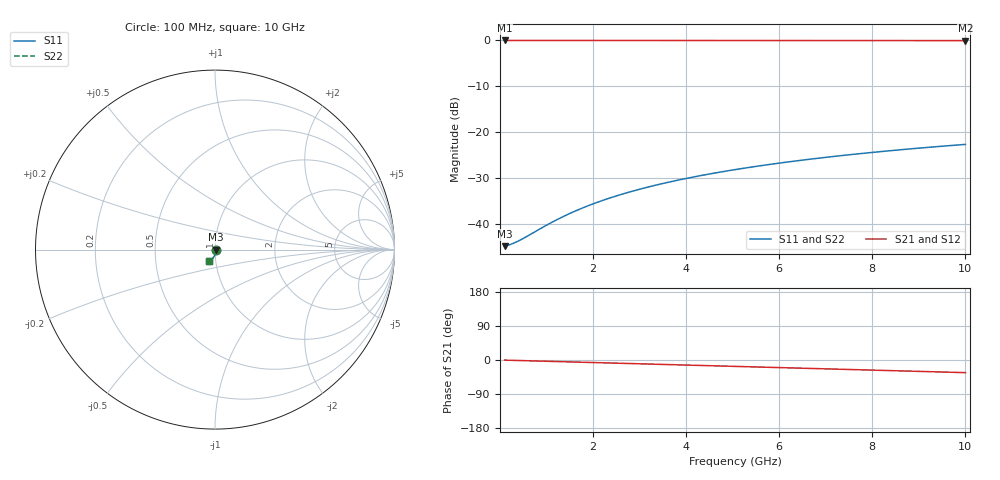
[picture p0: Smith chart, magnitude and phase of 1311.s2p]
# Hz S RI R 50.00
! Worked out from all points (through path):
!   100 points, 100 MHz to 10 GHz, reference 50 ohm
!   highest |S21| = -0.05 dB at 100 MHz (marker M1); lowest = -0.1 dB at 10 GHz (marker M2)
!   group delay of S21, straight-line fit = 9.27 ps
!   lowest |S11| = -44.8 dB at 100 MHz (marker M3), VSWR 1.01, Z = 50.6 - j0.0817 ohm
!   |S11| at or under -10 dB: start of sweep to end of sweep
!   |S22| runs from -44.8 to -22.7 dB; largest |S21 - S12| = 0
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1e8  0.00567 -0.000808  0.9943 -0.00579  0.9943 -0.00579  0.00567 -0.000808
2e8  0.00569 -0.00162  0.9942 -0.0116  0.9942 -0.0116  0.00569 -0.00162
3e8  0.0057 -0.00242  0.9941 -0.0174  0.9941 -0.0174  0.0057 -0.00242
4e8  0.00568 -0.00323  0.9939 -0.0232  0.9939 -0.0232  0.00568 -0.00323
6e8  0.00562 -0.00485  0.9936 -0.0347  0.9936 -0.0347  0.00562 -0.00485
1e9  0.00537 -0.00807  0.9924 -0.0579  0.9924 -0.0579  0.00537 -0.00807
1.2e9  0.00518 -0.00967  0.9916 -0.0694  0.9916 -0.0694  0.00518 -0.00967
1.5e9  0.00483 -0.0121  0.9902 -0.0868  0.9902 -0.0868  0.00483 -0.0121
1.8e9  0.00439 -0.0145  0.9884 -0.104  0.9884 -0.104  0.00439 -0.0145
2.1e9  0.00387 -0.0168  0.9864 -0.1213  0.9864 -0.1213  0.00387 -0.0168
2.5e9  0.00305 -0.02  0.9832 -0.1442  0.9832 -0.1442  0.00305 -0.02
2.9e9  0.00208 -0.023  0.9795 -0.1671  0.9795 -0.1671  0.00208 -0.023
3.4e9  0.000668 -0.0268  0.974 -0.1955  0.974 -0.1955  0.000668 -0.0268
3.8e9  -0.000615 -0.0298  0.9691 -0.2181  0.9691 -0.2181  -0.000615 -0.0298
4.2e9  -0.00203 -0.0327  0.9636 -0.2406  0.9636 -0.2406  -0.00203 -0.0327
4.6e9  -0.00358 -0.0355  0.9576 -0.263  0.9576 -0.263  -0.00358 -0.0355
5.1e9  -0.0057 -0.039  0.9493 -0.2907  0.9493 -0.2907  -0.0057 -0.039
5.9e9  -0.00949 -0.0442  0.9345 -0.3345  0.9345 -0.3345  -0.00949 -0.0442
6.7e9  -0.0137 -0.0491  0.9175 -0.3775  0.9175 -0.3775  -0.0137 -0.0491
7.5e9  -0.0184 -0.0535  0.8986 -0.4196  0.8986 -0.4196  -0.0184 -0.0535
8.4e9  -0.0241 -0.058  0.875 -0.4658  0.875 -0.4658  -0.0241 -0.058
1e10  -0.0353 -0.0644  0.8271 -0.5446  0.8271 -0.5446  -0.0353 -0.0644
